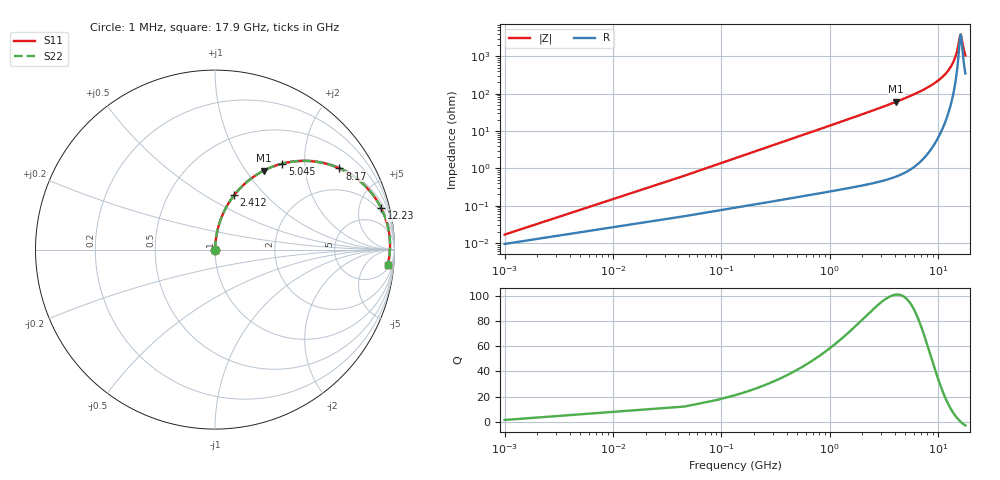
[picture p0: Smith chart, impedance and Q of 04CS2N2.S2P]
! Coilcraft 0402CS-2N2 Chip Inductor
! 29 May 2002
# MHZ S MA R 50
!Freq  MagS11  AngS11  MagS21  AngS21  MagS12  AngS12  MagS22  AngS22
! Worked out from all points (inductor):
!   402 points, 1 MHz to 17.9 GHz, reference 50 ohm
!   read as one part in series: L = 2.2 nH near 90.28 MHz
!   highest Q = 101 at 4.108 GHz (marker M1), where L = 2.35 nH
!   self-resonance near 16.2 GHz
!   S11 on the Smith chart (normalised r, x): 1 MHz: 1.00, +0.00; 2.412 GHz: 1.01, +0.68; 5.045 GHz: 1.02, +1.55; 8.17 GHz: 1.05, +3.03; 12.23 GHz: 1.51, +7.85; 17.9 GHz: 8, -20
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1  0.0001671 55.8  0.9999 -0.0  0.9999 -0.0  0.0001671 55.8
134.92  0.01865 86.2  0.9989 -1.1  0.9989 -1.1  0.01865 86.2
224.2  0.03097 86.1  0.9984 -1.8  0.9984 -1.8  0.03097 86.1
402.76  0.05556 85.3  0.997 -3.2  0.997 -3.2  0.05556 85.3
715.24  0.0984 83.2  0.9932 -5.6  0.9932 -5.6  0.0984 83.2
1117  0.153 80.3  0.9858 -8.8  0.9858 -8.8  0.153 80.3
1697.32  0.2302 75.9  0.9701 -13.3  0.9701 -13.3  0.2302 75.9
2411.56  0.3216 70.6  0.9432 -18.8  0.9432 -18.8  0.3216 70.6
2991.88  0.3922 66.3  0.9158 -23.1  0.9158 -23.1  0.3922 66.3
4107.88  0.5166 58.3  0.8511 -31.1  0.8511 -31.1  0.5166 58.3
5045.32  0.6084 51.9  0.7875 -37.5  0.7875 -37.5  0.6084 51.9
5982.76  0.6879 45.9  0.7181 -43.5  0.7181 -43.5  0.6879 45.9
8170.12  0.8281 33.1  0.5464 -55.9  0.5464 -55.9  0.8281 33.1
8973.64  0.8653 28.9  0.4832 -59.9  0.4832 -59.9  0.8653 28.9
11964.52  0.9502 15.1  0.2612 -71.5  0.2612 -71.5  0.9502 15.1
12232.36  0.9544 14.0  0.2427 -72.2  0.2427 -72.2  0.9544 14.0
13839.4  0.9713 7.9  0.1382 -74.1  0.1382 -74.1  0.9713 7.9
14955.4  0.9756 4.0  0.07294 -68.4  0.07294 -68.4  0.9756 4.0
15937.48  0.9754 0.8  0.02834 -29.2  0.02834 -29.2  0.9754 0.8
16205.32  0.9748 -0.0  0.02524 0.7  0.02524 0.7  0.9748 -0.0
17276.68  0.9703 -3.2  0.06235 60.0  0.06235 60.0  0.9703 -3.2
17900  0.9664 -4.9  0.09103 65.9  0.09103 65.9  0.9664 -4.9
